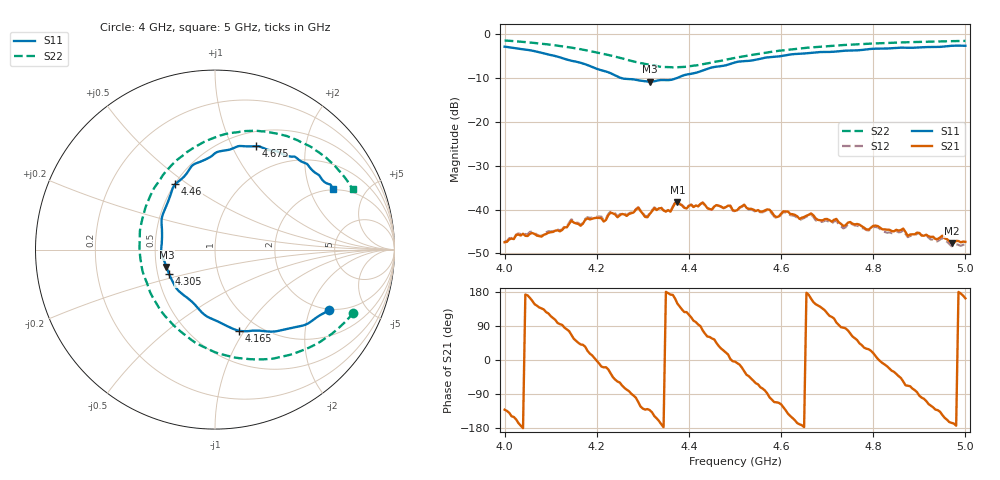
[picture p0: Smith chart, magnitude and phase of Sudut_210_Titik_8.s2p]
# Hz S RI R 50
! CMT, C1220, 16058040, 17.2.0/1
! Date: 15/08/2018 11:43:06
! Data: Format (Calibration Info)
! Freq  S11: Re/Im (F2)  S21: Re/Im (F2)  S12: Re/Im (F2)  S22: Re/Im (F2)
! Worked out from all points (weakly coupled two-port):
!   201 points, 4 GHz to 5 GHz, reference 50 ohm
!   highest |S21| = -38.26 dB at 4.375 GHz (marker M1); lowest = -47.7 dB at 4.97 GHz (marker M2)
!   lowest |S11| = -10.8 dB at 4.315 GHz (marker M3), VSWR 1.81, Z = 28.3 - j5.97 ohm
!   |S11| at or under -10 dB: 4.253 GHz to 4.374 GHz (121.4 MHz wide, 2.81 % of centre)
!   |S22| runs from -7.6 to -1.4 dB; largest |S21 - S12| = 0.00046
!   S11 on the Smith chart (normalised r, x): 4 GHz: 1.96, -2.74; 4.165 GHz: 0.81, -0.94; 4.305 GHz: 0.57, -0.17; 4.46 GHz: 0.50, +0.45; 4.675 GHz: 0.66, +1.24; 5 GHz: 1.98, +2.91
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4e9  0.636 -0.337  -0.00279 -0.00319  -0.00274 -0.00338  0.7704 -0.3523
4.12e9  0.2956 -0.4563  -0.000453 0.00562  -0.000608 0.00575  0.456 -0.5739
4.145e9  0.2071 -0.4519  0.00301 0.00685  0.00291 0.00716  0.3624 -0.5983
4.165e9  0.1324 -0.4519  0.00493 0.00429  0.00496 0.00446  0.2834 -0.6107
4.17e9  0.1168 -0.4474  0.00529 0.00445  0.0053 0.00465  0.2626 -0.6114
4.29e9  -0.2311 -0.1877  -0.00375 -0.00981  -0.00377 -0.00995  -0.2466 -0.4047
4.305e9  -0.2552 -0.1373  -0.0054 -0.00621  -0.00551 -0.00636  -0.2951 -0.3493
4.315e9  -0.2705 -0.0969  -0.00598 -0.00658  -0.00611 -0.0067  -0.3232 -0.3058
4.335e9  -0.2965 -0.0318  -0.00974 -0.00337  -0.0099 -0.00328  -0.3701 -0.2138
4.36e9  -0.2955 0.0551  -0.00936 0.00122  -0.00942 0.00135  -0.4091 -0.092
4.375e9  -0.2956 0.1153  -0.0104 0.00633  -0.0104 0.00663  -0.4189 -0.021
4.395e9  -0.2954 0.1803  -0.0061 0.00828  -0.006 0.00845  -0.4195 0.0785
4.46e9  -0.2208 0.364  0.00801 0.00789  0.00815 0.00765  -0.3263 0.3611
4.5e9  -0.1372 0.4554  0.00963 -0.000717  0.00951 -0.000789  -0.2246 0.4871
4.52e9  -0.1069 0.4803  0.00989 -0.0056  0.00963 -0.00573  -0.1678 0.5337
4.59e9  0.052 0.5512  -0.00302 -0.00761  -0.00303 -0.00738  0.0408 0.6389
4.67e9  0.2189 0.5759  -0.00767 0.00391  -0.00728 0.00391  0.2607 0.6584
4.675e9  0.2268 0.5765  -0.00669 0.00429  -0.00627 0.00422  0.2731 0.6584
4.835e9  0.4843 0.4891  0.00544 -0.00223  0.0051 -0.00204  0.5866 0.5361
4.95e9  0.614 0.3736  -0.00413 -0.00288  -0.00392 -0.0027  0.7237 0.4
4.97e9  0.6402 0.3634  -0.00398 -0.000998  -0.00372 -0.000857  0.7412 0.3772
5e9  0.6564 0.3358  -0.00409 0.00127  -0.00387 0.000972  0.7667 0.3368
